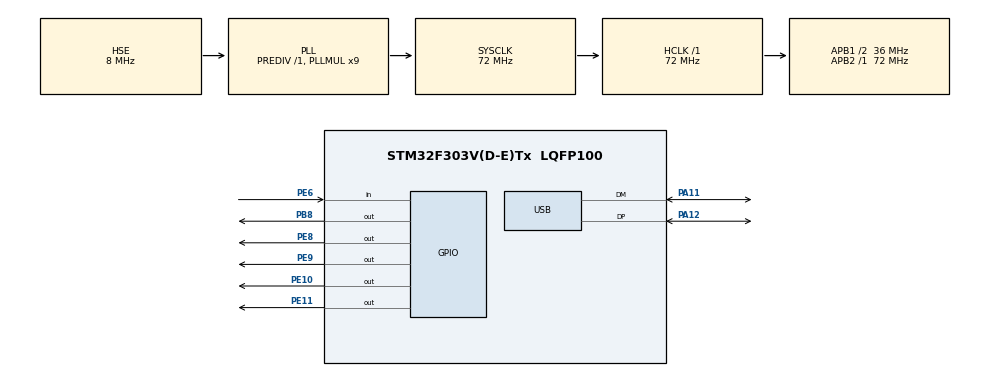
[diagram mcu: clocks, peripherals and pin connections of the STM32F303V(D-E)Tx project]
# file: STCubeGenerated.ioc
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Mcu.Family=STM32F3
Mcu.Name=STM32F303V(D-E)Tx
Mcu.Package=LQFP100
NVIC.PriorityGroup=NVIC_PRIORITYGROUP_4
NVIC.USB_HP_CAN_TX_IRQn=true\:0\:0\:false\:false\:true\:true
NVIC.USB_LP_CAN_RX0_IRQn=true\:0\:0\:false\:false\:true\:true
PA11.Mode=Device
PA11.Signal=USB_DM
PA12.Mode=Device
PA12.Signal=USB_DP
PB8.GPIO_ModeDefaultOutputPP=GPIO_MODE_OUTPUT_OD
PB8.PinState=GPIO_PIN_SET
PB8.Signal=GPIO_Output
PE10.PinState=GPIO_PIN_SET
PE10.Signal=GPIO_Output
PE11.PinState=GPIO_PIN_SET
PE11.Signal=GPIO_Output
PE6.Signal=GPIO_Input
PE8.PinState=GPIO_PIN_SET
PE8.Signal=GPIO_Output
PE9.PinState=GPIO_PIN_SET
PE9.Signal=GPIO_Output
PF0-OSC_IN.Mode=HSE-External-Oscillator
PF0-OSC_IN.Signal=RCC_OSC_IN
PF1-OSC_OUT.Mode=HSE-External-Oscillator
PF1-OSC_OUT.Signal=RCC_OSC_OUT
ProjectManager.HeapSize=0x200
ProjectManager.StackSize=0x400
ProjectManager.TargetToolchain=MDK-ARM V5
RCC.AHBFreq_Value=72000000
RCC.APB1CLKDivider=RCC_HCLK_DIV2
RCC.APB1Freq_Value=36000000
RCC.APB1TimFreq_Value=72000000
RCC.APB2Freq_Value=72000000
RCC.APB2TimFreq_Value=72000000
RCC.CortexFreq_Value=72000000
RCC.HCLKFreq_Value=72000000
RCC.HSE_VALUE=8000000
RCC.HSI_VALUE=8000000
RCC.LSE_VALUE=32768
RCC.PLLMUL=RCC_PLL_MUL9
RCC.PRESCALERUSB=RCC_USBCLKSOURCE_PLL_DIV1_5
RCC.SYSCLKFreq_VALUE=72000000
RCC.SYSCLKSourceVirtual=RCC_SYSCLKSOURCE_PLLCLK
RCC.USBFreq_Value=48000000
board=STCubeGenerated

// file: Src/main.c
/**
  ******************************************************************************
  * File Name          : main.c
  * Description        : Main program body
  ******************************************************************************
  ** This notice applies to any and all portions of this file
  * that are not between comment pairs USER CODE BEGIN and
  * USER CODE END. Other portions of this file, whether
  * inserted by the user or by software development tools
  * are owned by their respective copyright owners.
  *
  * COPYRIGHT(c) 2018 STMicroelectronics
  *
  * Redistribution and use in source and binary forms, with or without modification,
  * are permitted provided that the following conditions are met:
  *   1. Redistributions of source code must retain the above copyright notice,
  *      this list of conditions and the following disclaimer.
  *   2. Redistributions in binary form must reproduce the above copyright notice,
  *      this list of conditions and the following disclaimer in the documentation
  *      and/or other materials provided with the distribution.
  *   3. Neither the name of STMicroelectronics nor the names of its contributors
  *      may be used to endorse or promote products derived from this software
  *      without specific prior written permission.
  *
  * THIS SOFTWARE IS PROVIDED BY THE COPYRIGHT HOLDERS AND CONTRIBUTORS "AS IS"
  * AND ANY EXPRESS OR IMPLIED WARRANTIES, INCLUDING, BUT NOT LIMITED TO, THE
  * IMPLIED WARRANTIES OF MERCHANTABILITY AND FITNESS FOR A PARTICULAR PURPOSE ARE
  * DISCLAIMED. IN NO EVENT SHALL THE COPYRIGHT HOLDER OR CONTRIBUTORS BE LIABLE
  * FOR ANY DIRECT, INDIRECT, INCIDENTAL, SPECIAL, EXEMPLARY, OR CONSEQUENTIAL
  * DAMAGES (INCLUDING, BUT NOT LIMITED TO, PROCUREMENT OF SUBSTITUTE GOODS OR
  * SERVICES; LOSS OF USE, DATA, OR PROFITS; OR BUSINESS INTERRUPTION) HOWEVER
  * CAUSED AND ON ANY THEORY OF LIABILITY, WHETHER IN CONTRACT, STRICT LIABILITY,
  * OR TORT (INCLUDING NEGLIGENCE OR OTHERWISE) ARISING IN ANY WAY OUT OF THE USE
  * OF THIS SOFTWARE, EVEN IF ADVISED OF THE POSSIBILITY OF SUCH DAMAGE.
  *
  ******************************************************************************
  */

#include "main.h"
#include "stm32f3xx_hal.h"

/* USER CODE BEGIN Includes */
#include "MX_Device.h"
/* USER CODE END Includes */

PCD_HandleTypeDef hpcd_USB_FS;

/* USER CODE BEGIN PV */
/* Private variables ---------------------------------------------------------*/

/* USER CODE END PV */

void SystemClock_Config(void);
static void MX_GPIO_Init(void);
static void MX_USB_PCD_Init(void);

/* USER CODE BEGIN PFP */
/* Private function prototypes -----------------------------------------------*/

/* USER CODE END PFP */

/* USER CODE BEGIN 0 */

/**
  * Override default HAL_GetTick function
  */
uint32_t HAL_GetTick (void) {
  static uint32_t ticks = 0U;
         uint32_t i;

  if (osKernelGetState () == osKernelRunning) {
    return ((uint32_t)osKernelGetTickCount ());
  }

  /* If Kernel is not running wait approximately 1 ms then increment
     and return auxiliary tick counter value */
  for (i = (SystemCoreClock >> 14U); i > 0U; i--) {
    __NOP(); __NOP(); __NOP(); __NOP(); __NOP(); __NOP();
    __NOP(); __NOP(); __NOP(); __NOP(); __NOP(); __NOP();
  }
  return ++ticks;
}

/**
  * @brief  Software Device Connection
  * @param  hpcd: PCD handle
  * @param  state: connection state (0 : disconnected / 1: connected)
  * @retval None
  */
void HAL_PCDEx_SetConnectionState(PCD_HandleTypeDef *hpcd, uint8_t state)
{
  if(state == 1U) {
    HAL_GPIO_WritePin(MX_PB8_GPIOx, MX_PB8_GPIO_Pin, GPIO_PIN_RESET);
  } else {
    HAL_GPIO_WritePin(MX_PB8_GPIOx, MX_PB8_GPIO_Pin, GPIO_PIN_SET);
  }
}
/* USER CODE END 0 */

int main(void)
{

  /* MCU Configuration----------------------------------------------------------*/

  /* Reset of all peripherals, Initializes the Flash interface and the Systick. */
  HAL_Init();

  /* Configure the system clock */
  SystemClock_Config();

  /* USER CODE BEGIN SysInit */
  SystemCoreClockUpdate();
  /* USER CODE END SysInit */

  /* Initialize all configured peripherals */
  MX_GPIO_Init();
  MX_USB_PCD_Init();

  /* USER CODE BEGIN 2 */

  /* Initialize CMSIS-RTOS2 */
  osKernelInitialize ();

  /* Create application main thread */
  osThreadNew(app_main, NULL, &app_main_attr);

  /* Start thread execution */
  osKernelStart();

  /* USER CODE END 2 */

  /* Infinite loop */
  while (1)
  {

  }

}

/** System Clock Configuration
*/
void SystemClock_Config(void)
{

  RCC_OscInitTypeDef RCC_OscInitStruct;
  RCC_ClkInitTypeDef RCC_ClkInitStruct;
  RCC_PeriphCLKInitTypeDef PeriphClkInit;

    /**Initializes the CPU, AHB and APB busses clocks
    */
  RCC_OscInitStruct.OscillatorType = RCC_OSCILLATORTYPE_HSE;
  RCC_OscInitStruct.HSEState = RCC_HSE_ON;
  RCC_OscInitStruct.HSIState = RCC_HSI_ON;
  RCC_OscInitStruct.PLL.PLLState = RCC_PLL_ON;
  RCC_OscInitStruct.PLL.PLLSource = RCC_PLLSOURCE_HSE;
  RCC_OscInitStruct.PLL.PLLMUL = RCC_PLL_MUL9;
  RCC_OscInitStruct.PLL.PREDIV = RCC_PREDIV_DIV1;
  if (HAL_RCC_OscConfig(&RCC_OscInitStruct) != HAL_OK)
  {
    _Error_Handler(__FILE__, __LINE__);
  }

    /**Initializes the CPU, AHB and APB busses clocks
    */
  RCC_ClkInitStruct.ClockType = RCC_CLOCKTYPE_HCLK|RCC_CLOCKTYPE_SYSCLK
                              |RCC_CLOCKTYPE_PCLK1|RCC_CLOCKTYPE_PCLK2;
  RCC_ClkInitStruct.SYSCLKSource = RCC_SYSCLKSOURCE_PLLCLK;
  RCC_ClkInitStruct.AHBCLKDivider = RCC_SYSCLK_DIV1;
  RCC_ClkInitStruct.APB1CLKDivider = RCC_HCLK_DIV2;
  RCC_ClkInitStruct.APB2CLKDivider = RCC_HCLK_DIV1;

  if (HAL_RCC_ClockConfig(&RCC_ClkInitStruct, FLASH_LATENCY_2) != HAL_OK)
  {
    _Error_Handler(__FILE__, __LINE__);
  }

  PeriphClkInit.PeriphClockSelection = RCC_PERIPHCLK_USB;
  PeriphClkInit.USBClockSelection = RCC_USBCLKSOURCE_PLL_DIV1_5;
  if (HAL_RCCEx_PeriphCLKConfig(&PeriphClkInit) != HAL_OK)
  {
    _Error_Handler(__FILE__, __LINE__);
  }

    /**Configure the Systick interrupt time
    */
  HAL_SYSTICK_Config(HAL_RCC_GetHCLKFreq()/1000);

    /**Configure the Systick
    */
  HAL_SYSTICK_CLKSourceConfig(SYSTICK_CLKSOURCE_HCLK);

  /* SysTick_IRQn interrupt configuration */
  HAL_NVIC_SetPriority(SysTick_IRQn, 15, 0);
}

/* USB init function */
static void MX_USB_PCD_Init(void)
{

  hpcd_USB_FS.Instance = USB;
  hpcd_USB_FS.Init.dev_endpoints = 8;
  hpcd_USB_FS.Init.speed = PCD_SPEED_FULL;
  hpcd_USB_FS.Init.ep0_mps = DEP0CTL_MPS_64;
  hpcd_USB_FS.Init.phy_itface = PCD_PHY_EMBEDDED;
  hpcd_USB_FS.Init.low_power_enable = DISABLE;
  hpcd_USB_FS.Init.lpm_enable = DISABLE;
  hpcd_USB_FS.Init.battery_charging_enable = DISABLE;
  if (HAL_PCD_Init(&hpcd_USB_FS) != HAL_OK)
  {
    _Error_Handler(__FILE__, __LINE__);
  }

}

/** Configure pins as
        * Analog
        * Input
        * Output
        * EVENT_OUT
        * EXTI
*/
static void MX_GPIO_Init(void)
{

  GPIO_InitTypeDef GPIO_InitStruct;

  /* GPIO Ports Clock Enable */
  __HAL_RCC_GPIOE_CLK_ENABLE();
  __HAL_RCC_GPIOF_CLK_ENABLE();
  __HAL_RCC_GPIOA_CLK_ENABLE();
  __HAL_RCC_GPIOB_CLK_ENABLE();

  /*Configure GPIO pin Output Level */
  HAL_GPIO_WritePin(GPIOE, GPIO_PIN_8|GPIO_PIN_9|GPIO_PIN_10|GPIO_PIN_11, GPIO_PIN_SET);

  /*Configure GPIO pin Output Level */
  HAL_GPIO_WritePin(GPIOB, GPIO_PIN_8, GPIO_PIN_SET);

  /*Configure GPIO pin : PE6 */
  GPIO_InitStruct.Pin = GPIO_PIN_6;
  GPIO_InitStruct.Mode = GPIO_MODE_INPUT;
  GPIO_InitStruct.Pull = GPIO_NOPULL;
  HAL_GPIO_Init(GPIOE, &GPIO_InitStruct);

  /*Configure GPIO pins : PE8 PE9 PE10 PE11 */
  GPIO_InitStruct.Pin = GPIO_PIN_8|GPIO_PIN_9|GPIO_PIN_10|GPIO_PIN_11;
  GPIO_InitStruct.Mode = GPIO_MODE_OUTPUT_PP;
  GPIO_InitStruct.Pull = GPIO_NOPULL;
  GPIO_InitStruct.Speed = GPIO_SPEED_FREQ_LOW;
  HAL_GPIO_Init(GPIOE, &GPIO_InitStruct);

  /*Configure GPIO pin : PB8 */
  GPIO_InitStruct.Pin = GPIO_PIN_8;
  GPIO_InitStruct.Mode = GPIO_MODE_OUTPUT_OD;
  GPIO_InitStruct.Pull = GPIO_NOPULL;
  GPIO_InitStruct.Speed = GPIO_SPEED_FREQ_LOW;
  HAL_GPIO_Init(GPIOB, &GPIO_InitStruct);

}

void _Error_Handler(char * file, int line)
{
  while(1)
  {
  }
}

/************************ (C) COPYRIGHT STMicroelectronics *****END OF FILE****/
